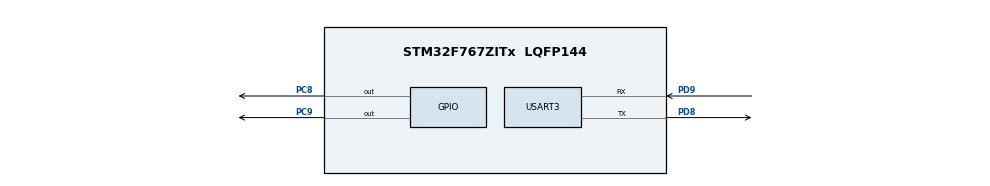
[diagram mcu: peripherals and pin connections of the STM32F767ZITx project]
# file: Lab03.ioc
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Mcu.Family=STM32F7
Mcu.Name=STM32F767ZITx
Mcu.Package=LQFP144
NVIC.PriorityGroup=NVIC_PRIORITYGROUP_4
PC8.Signal=GPIO_Output
PC9.Signal=GPIO_Output
PD8.Mode=Asynchronous
PD8.Signal=USART3_TX
PD9.Mode=Asynchronous
PD9.Signal=USART3_RX
ProjectManager.HeapSize=0x200
ProjectManager.StackSize=0x400
ProjectManager.TargetToolchain=STM32CubeIDE
RCC.HSE_VALUE=25000000
RCC.HSI_VALUE=16000000
RCC.LSE_VALUE=32768
RCC.USBFreq_Value=96000000
RCC.VCOOutputFreq_Value=192000000
USART3.VirtualMode-Asynchronous=VM_ASYNC
board=custom

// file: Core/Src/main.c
/* USER CODE BEGIN Header */
/**
 ******************************************************************************
 * @file           : main.c
 * @brief          : Main program body
 ******************************************************************************
 * @attention
 *
 * Copyright (c) 2022 STMicroelectronics.
 * All rights reserved.
 *
 * This software is licensed under terms that can be found in the LICENSE file
 * in the root directory of this software component.
 * If no LICENSE file comes with this software, it is provided AS-IS.
 *
 ******************************************************************************
 */
/* USER CODE END Header */
#include "main.h"
#include "usart.h"
#include "gpio.h"

/* USER CODE BEGIN PV */
uint8_t num = 0;

char ch1;
/* USER CODE END PV */

void SystemClock_Config(void);

int main(void) {

	/* MCU Configuration--------------------------------------------------------*/

	/* Reset of all peripherals, Initializes the Flash interface and the Systick. */
	HAL_Init();

	/* Configure the system clock */
	SystemClock_Config();

	/* Initialize all configured peripherals */
	MX_GPIO_Init();
	MX_USART3_UART_Init();

	/* Infinite loop */
	while (1) {

		/* USER CODE BEGIN 3 */
//1
//		char str[] = "Hello, World!!\r\n";
//		while(__HAL_UART_GET_FLAG(&huart3,UART_FLAG_TC)==RESET){}
//		HAL_UART_Transmit(&huart3, (uint8_t*) str, strlen(str),1000);
//		HAL_Delay(500);
//2
//	    char ch1= 'A';
//	    while(__HAL_UART_GET_FLAG(&huart3,UART_FLAG_TC)==RESET){}
//	    HAL_UART_Transmit(&huart3, &ch1, 1,1000);
//	    HAL_Delay(500);
//3
//		if (num == 0) {
//			while (__HAL_UART_GET_FLAG(&huart3, UART_FLAG_TC) == RESET) {
//			}
//			HAL_UART_Transmit(&huart3, "Input => ", 8, 1000);
//			while (__HAL_UART_GET_FLAG(&huart3, UART_FLAG_RXNE) == RESET) {
//			}
//			HAL_UART_Receive(&huart3, (uint8_t*) &ch1, 1, 1000);
//			while (__HAL_UART_GET_FLAG(&huart3, UART_FLAG_TC) == RESET) {
//			}
//			HAL_UART_Transmit(&huart3, &ch1, 1, 1000);
//			while (__HAL_UART_GET_FLAG(&huart3, UART_FLAG_TC) == RESET) {
//						}
//			HAL_UART_Transmit(&huart3, "\n\r", 2, 1000);
//			if(ch1=='q'){
//				while (__HAL_UART_GET_FLAG(&huart3, UART_FLAG_TC) == RESET) {
//							}
//				HAL_UART_Transmit(&huart3, "QUIT", 4, 1000);
//				num = 1;
//			}
//			HAL_Delay(500);
//		}
//		HAL_Delay(100);
		if (num == 0) {
			char str[] =
					"Display Blinking LED PRESS (1, 2)\n\rDisplay Group Members PRESS m\n\rQuit PRESS q\n\r\tInput =>";
			while (__HAL_UART_GET_FLAG(&huart3, UART_FLAG_TC) == RESET) {
			}
			HAL_UART_Transmit(&huart3, (uint8_t*) str, strlen(str), 1000);
			while (__HAL_UART_GET_FLAG(&huart3, UART_FLAG_RXNE) == RESET) {
			}
			HAL_UART_Receive(&huart3, (uint8_t*) &ch1, 1, 1000);
			while (__HAL_UART_GET_FLAG(&huart3, UART_FLAG_TC) == RESET) {
			}
			HAL_UART_Transmit(&huart3, &ch1, 1, 1000);
			while (__HAL_UART_GET_FLAG(&huart3, UART_FLAG_TC) == RESET) {
			}
			HAL_UART_Transmit(&huart3, "\n\r", 2, 1000);
			num = 1;
			if (ch1 == 'q') {
				while (__HAL_UART_GET_FLAG(&huart3, UART_FLAG_TC) == RESET) {
				}
				HAL_UART_Transmit(&huart3, "QUIT", 4, 1000);
				num = 2;
			}
			HAL_Delay(100);
		}
		if (num == 1) {
			if (ch1 == '1') {
				for (uint8_t i = 0; i < 3; i++) {
					HAL_GPIO_WritePin(GPIOC, GPIO_PIN_8, GPIO_PIN_RESET);
					HAL_Delay(300);
					HAL_GPIO_WritePin(GPIOC, GPIO_PIN_8, GPIO_PIN_SET);
					HAL_Delay(300);
				}
			} else if (ch1 == '2') {
				for (uint8_t i = 0; i < 3; i++) {
					HAL_GPIO_WritePin(GPIOC, GPIO_PIN_9, GPIO_PIN_RESET);
					HAL_Delay(300);
					HAL_GPIO_WritePin(GPIOC, GPIO_PIN_9, GPIO_PIN_SET);
					HAL_Delay(300);
				}
			} else if (ch1 == 'm') {
				char str[] = "63011017\n\rSuratan Boonpong\n\r";
				while (__HAL_UART_GET_FLAG(&huart3, UART_FLAG_TC) == RESET) {
				}
				HAL_UART_Transmit(&huart3, (uint8_t*) str, strlen(str), 1000);
			}
			else {
				char str[] = "Unknown Command\n\r";
				while (__HAL_UART_GET_FLAG(&huart3, UART_FLAG_TC) == RESET) {
				}
				HAL_UART_Transmit(&huart3, (uint8_t*) str, strlen(str), 1000);
			}
			while (__HAL_UART_GET_FLAG(&huart3, UART_FLAG_TC) == RESET) {
			}
			HAL_UART_Transmit(&huart3, "\tInput => ", 9, 1000);
			while (__HAL_UART_GET_FLAG(&huart3, UART_FLAG_RXNE) == RESET) {
			}
			HAL_UART_Receive(&huart3, (uint8_t*) &ch1, 1, 1000);
			while (__HAL_UART_GET_FLAG(&huart3, UART_FLAG_TC) == RESET) {
			}
			HAL_UART_Transmit(&huart3, &ch1, 1, 1000);
			while (__HAL_UART_GET_FLAG(&huart3, UART_FLAG_TC) == RESET) {
			}
			HAL_UART_Transmit(&huart3, "\n\r", 2, 1000);
			if (ch1 == 'q') {
							while (__HAL_UART_GET_FLAG(&huart3, UART_FLAG_TC) == RESET) {
							}
							HAL_UART_Transmit(&huart3, "QUIT", 4, 1000);
							num = 2;
						}
			HAL_Delay(100);
		}

	}
	/* USER CODE END 3 */
}

void SystemClock_Config(void) {
	RCC_OscInitTypeDef RCC_OscInitStruct = { 0 };
	RCC_ClkInitTypeDef RCC_ClkInitStruct = { 0 };

	/** Configure the main internal regulator output voltage
	 */
	__HAL_RCC_PWR_CLK_ENABLE();
	__HAL_PWR_VOLTAGESCALING_CONFIG(PWR_REGULATOR_VOLTAGE_SCALE3);

	/** Initializes the RCC Oscillators according to the specified parameters
	 * in the RCC_OscInitTypeDef structure.
	 */
	RCC_OscInitStruct.OscillatorType = RCC_OSCILLATORTYPE_HSI;
	RCC_OscInitStruct.HSIState = RCC_HSI_ON;
	RCC_OscInitStruct.HSICalibrationValue = RCC_HSICALIBRATION_DEFAULT;
	RCC_OscInitStruct.PLL.PLLState = RCC_PLL_NONE;
	if (HAL_RCC_OscConfig(&RCC_OscInitStruct) != HAL_OK) {
		Error_Handler();
	}

	/** Initializes the CPU, AHB and APB buses clocks
	 */
	RCC_ClkInitStruct.ClockType = RCC_CLOCKTYPE_HCLK | RCC_CLOCKTYPE_SYSCLK
			| RCC_CLOCKTYPE_PCLK1 | RCC_CLOCKTYPE_PCLK2;
	RCC_ClkInitStruct.SYSCLKSource = RCC_SYSCLKSOURCE_HSI;
	RCC_ClkInitStruct.AHBCLKDivider = RCC_SYSCLK_DIV1;
	RCC_ClkInitStruct.APB1CLKDivider = RCC_HCLK_DIV1;
	RCC_ClkInitStruct.APB2CLKDivider = RCC_HCLK_DIV1;

	if (HAL_RCC_ClockConfig(&RCC_ClkInitStruct, FLASH_LATENCY_0) != HAL_OK) {
		Error_Handler();
	}
}

void Error_Handler(void) {
	__disable_irq();
	while (1) {
	}
}
